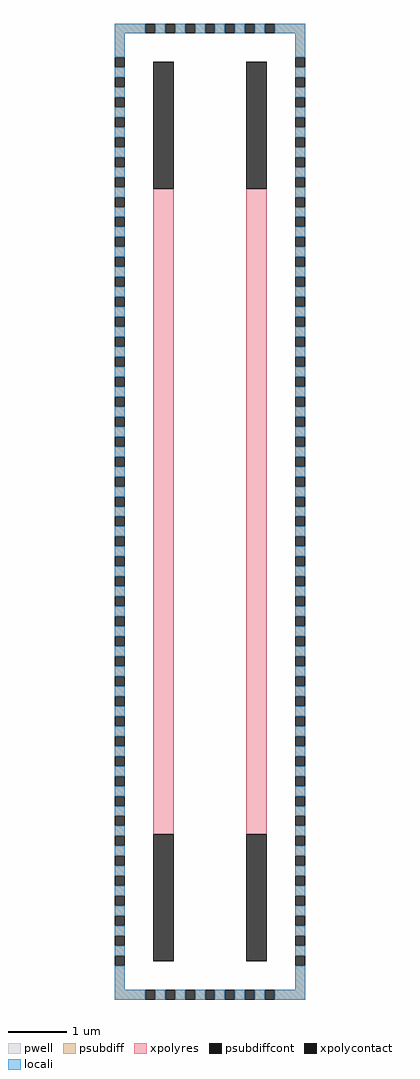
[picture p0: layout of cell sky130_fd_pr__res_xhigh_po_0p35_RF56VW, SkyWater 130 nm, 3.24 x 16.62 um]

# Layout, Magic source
magic
tech sky130A
magscale 1 2
<< pwell >>
rect -324 1628 324 1662
rect -324 -1628 -290 1628
rect 290 -1628 324 1628
rect -324 -1662 324 -1628
<< psubdiff >>
rect -324 1628 -221 1662
rect -187 1628 -153 1662
rect -119 1628 -85 1662
rect -51 1628 -17 1662
rect 17 1628 51 1662
rect 85 1628 119 1662
rect 153 1628 187 1662
rect 221 1628 324 1662
rect -324 1547 -290 1628
rect 290 1547 324 1628
rect -324 1479 -290 1513
rect -324 1411 -290 1445
rect -324 1343 -290 1377
rect -324 1275 -290 1309
rect -324 1207 -290 1241
rect -324 1139 -290 1173
rect -324 1071 -290 1105
rect -324 1003 -290 1037
rect -324 935 -290 969
rect -324 867 -290 901
rect -324 799 -290 833
rect -324 731 -290 765
rect -324 663 -290 697
rect -324 595 -290 629
rect -324 527 -290 561
rect -324 459 -290 493
rect -324 391 -290 425
rect -324 323 -290 357
rect -324 255 -290 289
rect -324 187 -290 221
rect -324 119 -290 153
rect -324 51 -290 85
rect -324 -17 -290 17
rect -324 -85 -290 -51
rect -324 -153 -290 -119
rect -324 -221 -290 -187
rect -324 -289 -290 -255
rect -324 -357 -290 -323
rect -324 -425 -290 -391
rect -324 -493 -290 -459
rect -324 -561 -290 -527
rect -324 -629 -290 -595
rect -324 -697 -290 -663
rect -324 -765 -290 -731
rect -324 -833 -290 -799
rect -324 -901 -290 -867
rect -324 -969 -290 -935
rect -324 -1037 -290 -1003
rect -324 -1105 -290 -1071
rect -324 -1173 -290 -1139
rect -324 -1241 -290 -1207
rect -324 -1309 -290 -1275
rect -324 -1377 -290 -1343
rect -324 -1445 -290 -1411
rect -324 -1513 -290 -1479
rect 290 1479 324 1513
rect 290 1411 324 1445
rect 290 1343 324 1377
rect 290 1275 324 1309
rect 290 1207 324 1241
rect 290 1139 324 1173
rect 290 1071 324 1105
rect 290 1003 324 1037
rect 290 935 324 969
rect 290 867 324 901
rect 290 799 324 833
rect 290 731 324 765
rect 290 663 324 697
rect 290 595 324 629
rect 290 527 324 561
rect 290 459 324 493
rect 290 391 324 425
rect 290 323 324 357
rect 290 255 324 289
rect 290 187 324 221
rect 290 119 324 153
rect 290 51 324 85
rect 290 -17 324 17
rect 290 -85 324 -51
rect 290 -153 324 -119
rect 290 -221 324 -187
rect 290 -289 324 -255
rect 290 -357 324 -323
rect 290 -425 324 -391
rect 290 -493 324 -459
rect 290 -561 324 -527
rect 290 -629 324 -595
rect 290 -697 324 -663
rect 290 -765 324 -731
rect 290 -833 324 -799
rect 290 -901 324 -867
rect 290 -969 324 -935
rect 290 -1037 324 -1003
rect 290 -1105 324 -1071
rect 290 -1173 324 -1139
rect 290 -1241 324 -1207
rect 290 -1309 324 -1275
rect 290 -1377 324 -1343
rect 290 -1445 324 -1411
rect 290 -1513 324 -1479
rect -324 -1628 -290 -1547
rect 290 -1628 324 -1547
rect -324 -1662 -221 -1628
rect -187 -1662 -153 -1628
rect -119 -1662 -85 -1628
rect -51 -1662 -17 -1628
rect 17 -1662 51 -1628
rect 85 -1662 119 -1628
rect 153 -1662 187 -1628
rect 221 -1662 324 -1628
<< psubdiffcont >>
rect -221 1628 -187 1662
rect -153 1628 -119 1662
rect -85 1628 -51 1662
rect -17 1628 17 1662
rect 51 1628 85 1662
rect 119 1628 153 1662
rect 187 1628 221 1662
rect -324 1513 -290 1547
rect -324 1445 -290 1479
rect -324 1377 -290 1411
rect -324 1309 -290 1343
rect -324 1241 -290 1275
rect -324 1173 -290 1207
rect -324 1105 -290 1139
rect -324 1037 -290 1071
rect -324 969 -290 1003
rect -324 901 -290 935
rect -324 833 -290 867
rect -324 765 -290 799
rect -324 697 -290 731
rect -324 629 -290 663
rect -324 561 -290 595
rect -324 493 -290 527
rect -324 425 -290 459
rect -324 357 -290 391
rect -324 289 -290 323
rect -324 221 -290 255
rect -324 153 -290 187
rect -324 85 -290 119
rect -324 17 -290 51
rect -324 -51 -290 -17
rect -324 -119 -290 -85
rect -324 -187 -290 -153
rect -324 -255 -290 -221
rect -324 -323 -290 -289
rect -324 -391 -290 -357
rect -324 -459 -290 -425
rect -324 -527 -290 -493
rect -324 -595 -290 -561
rect -324 -663 -290 -629
rect -324 -731 -290 -697
rect -324 -799 -290 -765
rect -324 -867 -290 -833
rect -324 -935 -290 -901
rect -324 -1003 -290 -969
rect -324 -1071 -290 -1037
rect -324 -1139 -290 -1105
rect -324 -1207 -290 -1173
rect -324 -1275 -290 -1241
rect -324 -1343 -290 -1309
rect -324 -1411 -290 -1377
rect -324 -1479 -290 -1445
rect -324 -1547 -290 -1513
rect 290 1513 324 1547
rect 290 1445 324 1479
rect 290 1377 324 1411
rect 290 1309 324 1343
rect 290 1241 324 1275
rect 290 1173 324 1207
rect 290 1105 324 1139
rect 290 1037 324 1071
rect 290 969 324 1003
rect 290 901 324 935
rect 290 833 324 867
rect 290 765 324 799
rect 290 697 324 731
rect 290 629 324 663
rect 290 561 324 595
rect 290 493 324 527
rect 290 425 324 459
rect 290 357 324 391
rect 290 289 324 323
rect 290 221 324 255
rect 290 153 324 187
rect 290 85 324 119
rect 290 17 324 51
rect 290 -51 324 -17
rect 290 -119 324 -85
rect 290 -187 324 -153
rect 290 -255 324 -221
rect 290 -323 324 -289
rect 290 -391 324 -357
rect 290 -459 324 -425
rect 290 -527 324 -493
rect 290 -595 324 -561
rect 290 -663 324 -629
rect 290 -731 324 -697
rect 290 -799 324 -765
rect 290 -867 324 -833
rect 290 -935 324 -901
rect 290 -1003 324 -969
rect 290 -1071 324 -1037
rect 290 -1139 324 -1105
rect 290 -1207 324 -1173
rect 290 -1275 324 -1241
rect 290 -1343 324 -1309
rect 290 -1411 324 -1377
rect 290 -1479 324 -1445
rect 290 -1547 324 -1513
rect -221 -1662 -187 -1628
rect -153 -1662 -119 -1628
rect -85 -1662 -51 -1628
rect -17 -1662 17 -1628
rect 51 -1662 85 -1628
rect 119 -1662 153 -1628
rect 187 -1662 221 -1628
<< xpolycontact >>
rect -194 1100 -124 1532
rect -194 -1532 -124 -1100
rect 124 1100 194 1532
rect 124 -1532 194 -1100
<< xpolyres >>
rect -194 -1100 -124 1100
rect 124 -1100 194 1100
<< locali >>
rect -324 1628 -221 1662
rect -187 1628 -153 1662
rect -119 1628 -85 1662
rect -51 1628 -17 1662
rect 17 1628 51 1662
rect 85 1628 119 1662
rect 153 1628 187 1662
rect 221 1628 324 1662
rect -324 1547 -290 1628
rect 290 1547 324 1628
rect -324 1479 -290 1513
rect -324 1411 -290 1445
rect -324 1343 -290 1377
rect -324 1275 -290 1309
rect -324 1207 -290 1241
rect -324 1139 -290 1173
rect -324 1071 -290 1105
rect 290 1479 324 1513
rect 290 1411 324 1445
rect 290 1343 324 1377
rect 290 1275 324 1309
rect 290 1207 324 1241
rect 290 1139 324 1173
rect -324 1003 -290 1037
rect -324 935 -290 969
rect -324 867 -290 901
rect -324 799 -290 833
rect -324 731 -290 765
rect -324 663 -290 697
rect -324 595 -290 629
rect -324 527 -290 561
rect -324 459 -290 493
rect -324 391 -290 425
rect -324 323 -290 357
rect -324 255 -290 289
rect -324 187 -290 221
rect -324 119 -290 153
rect -324 51 -290 85
rect -324 -17 -290 17
rect -324 -85 -290 -51
rect -324 -153 -290 -119
rect -324 -221 -290 -187
rect -324 -289 -290 -255
rect -324 -357 -290 -323
rect -324 -425 -290 -391
rect -324 -493 -290 -459
rect -324 -561 -290 -527
rect -324 -629 -290 -595
rect -324 -697 -290 -663
rect -324 -765 -290 -731
rect -324 -833 -290 -799
rect -324 -901 -290 -867
rect -324 -969 -290 -935
rect -324 -1037 -290 -1003
rect -324 -1105 -290 -1071
rect 290 1071 324 1105
rect 290 1003 324 1037
rect 290 935 324 969
rect 290 867 324 901
rect 290 799 324 833
rect 290 731 324 765
rect 290 663 324 697
rect 290 595 324 629
rect 290 527 324 561
rect 290 459 324 493
rect 290 391 324 425
rect 290 323 324 357
rect 290 255 324 289
rect 290 187 324 221
rect 290 119 324 153
rect 290 51 324 85
rect 290 -17 324 17
rect 290 -85 324 -51
rect 290 -153 324 -119
rect 290 -221 324 -187
rect 290 -289 324 -255
rect 290 -357 324 -323
rect 290 -425 324 -391
rect 290 -493 324 -459
rect 290 -561 324 -527
rect 290 -629 324 -595
rect 290 -697 324 -663
rect 290 -765 324 -731
rect 290 -833 324 -799
rect 290 -901 324 -867
rect 290 -969 324 -935
rect 290 -1037 324 -1003
rect -324 -1173 -290 -1139
rect -324 -1241 -290 -1207
rect -324 -1309 -290 -1275
rect -324 -1377 -290 -1343
rect -324 -1445 -290 -1411
rect -324 -1513 -290 -1479
rect 290 -1105 324 -1071
rect 290 -1173 324 -1139
rect 290 -1241 324 -1207
rect 290 -1309 324 -1275
rect 290 -1377 324 -1343
rect 290 -1445 324 -1411
rect 290 -1513 324 -1479
rect -324 -1628 -290 -1547
rect 290 -1628 324 -1547
rect -324 -1662 -221 -1628
rect -187 -1662 -153 -1628
rect -119 -1662 -85 -1628
rect -51 -1662 -17 -1628
rect 17 -1662 51 -1628
rect 85 -1662 119 -1628
rect 153 -1662 187 -1628
rect 221 -1662 324 -1628
<< properties >>
string FIXED_BBOX -306 -1644 306 1644
<< end >>
